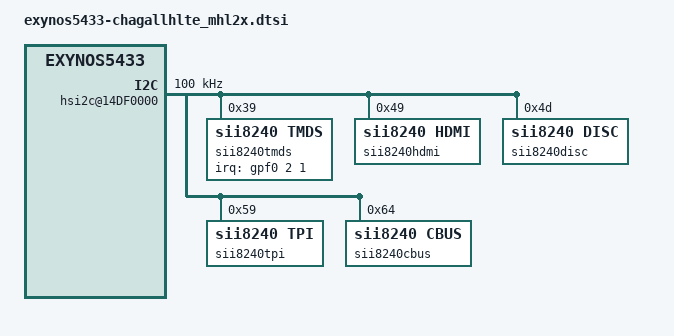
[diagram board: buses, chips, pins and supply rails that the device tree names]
/* Copyright (c) 2013, Samsung Electronics Corporation. All rights reserved.
 *
 * This program is free software; you can redistribute it and/or modify
 * it under the terms of the GNU General Public License version 2 and
 * only version 2 as published by the Free Software Foundation.
 *
 * This program is distributed in the hope that it will be useful,
 * but WITHOUT ANY WARRANTY; without even the implied warranty of
 * MERCHANTABILITY or FITNESS FOR A PARTICULAR PURPOSE.  See the
 * GNU General Public License for more details.
 */

/ {
	hsi2c@14DF0000 {
		status = "okay";
		samsung,fs-mode;
		clock-frequency = <100000>;

		sii8240tmds@39 {
			compatible = "sii8240,tmds";
			reg = <0x39>; /* 0x72 >> 1 */
			sii8240,client_id = <0x00>;

			interrupts = <2 1 1>;
			interrupt-parent = <&gpf0>;

			sii8240,mhl_reset = <&gpv7 0 0>;
			sii8240,mhl_scl = <&gpg3 3 0>;
			sii8240,mhl_sda = <&gpg3 2 0>;
			sii8240,swing_level = <0x26>;
		};
		sii8240hdmi@49 {
			compatible = "sii8240,hdmi";
			reg = <0x49>; /* 0x92 >> 1 */
			sii8240,client_id = <0x01>;
		};
		sii8240disc@4D {
			compatible = "sii8240,disc";
			reg = <0x4D>;  /* 0x9A >> 1 */
			sii8240,client_id = <0x02>;
		};
		sii8240tpi@59 {
			compatible = "sii8240,tpi";
			reg = <0x59>;   /* 0xB2 >> 1 */
			sii8240,client_id = <0x03>;
		};
		sii8240cbus@64 {
			compatible = "sii8240,cbus";
			reg = <0x64>;  /* 0xC8 >> 1 */
			sii8240,client_id = <0x04>;
		};
	};

};
